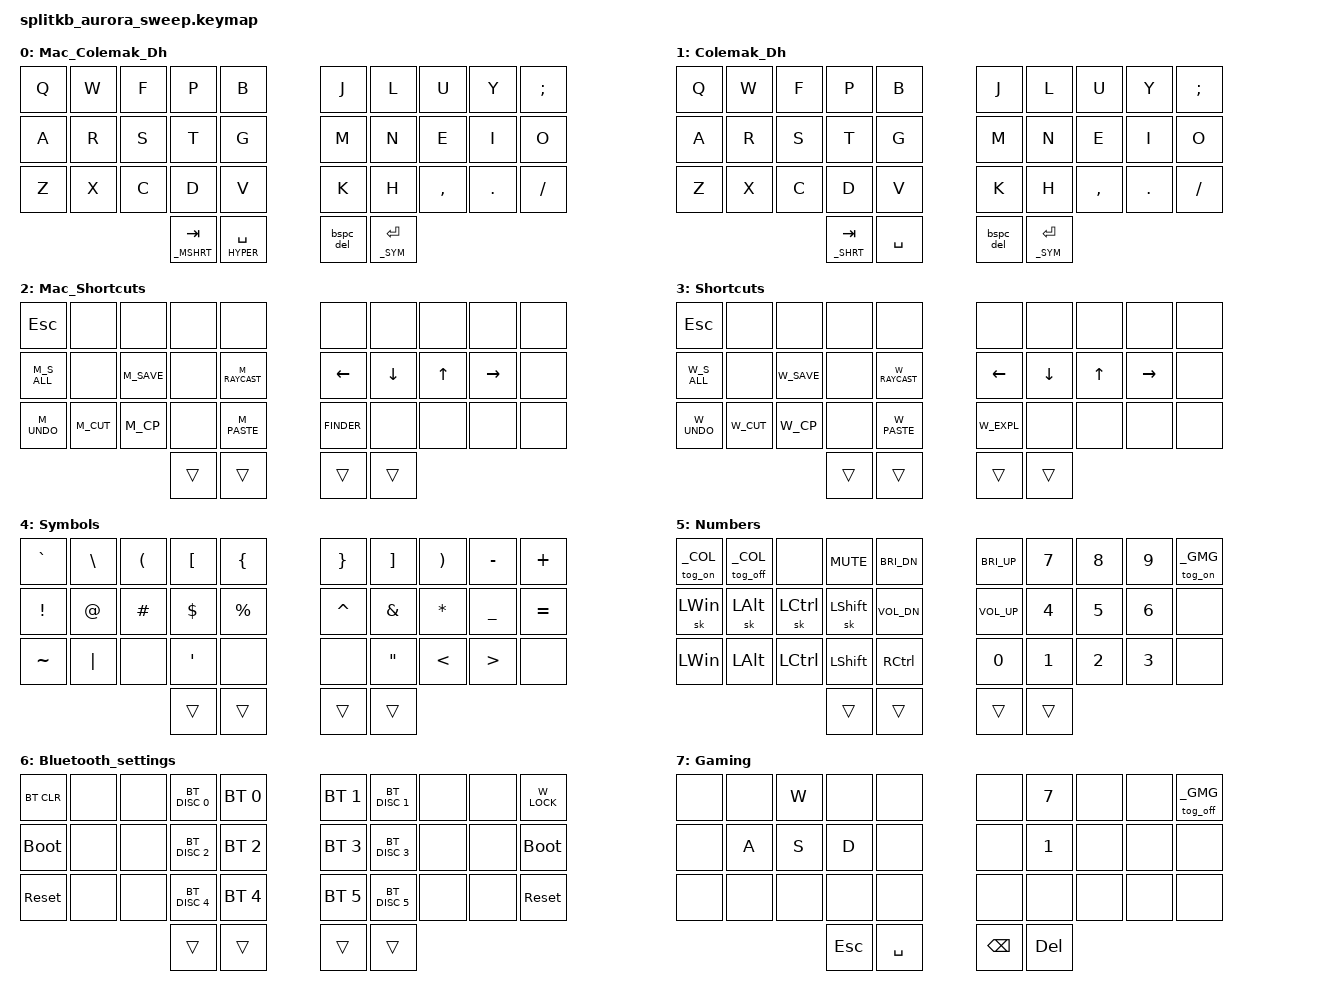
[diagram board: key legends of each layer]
#include <behaviors.dtsi>
#include <dt-bindings/zmk/keys.h>
#include <dt-bindings/zmk/bt.h>
#include "win_linux_keys.h"
#include "mac_keys.h"

#define _MCOL  0  // default mac keyboard
#define _COL   1  // default win/linux keyboard
#define _MSHRT 2  // mac shortcuts layer
#define _SHRT  3  // win/linux shortcuts layer
#define _SYM   4  // symbols
#define _NUM   5  // numbers
#define _BLT   6  // blt management when connected to win/linux
#define _GMG   7  // gaming

&lt {
  flavor = "hold-preferred";
};

&mt {
  flavor = "tap-preferred";
};

/ {

  // combo setup
  combos {
    compatible = "zmk,combos";
    // central thumb keys
    combo_blt {
      timeout-ms = <200>;
      key-positions = <31 32>;
      bindings = <&mo _BLT>;
    };
    // left thumb keys
    combo_shift {
      timeout-ms = <200>;
      key-positions = <30 31>;
      bindings = <&kp LSHFT>;
    };
    // right thumb keys
    combo_capsword {
      timeout-ms = <200>;
      key-positions = <32 33>;
      bindings = <&caps_word>;
    };
  };

  behaviors {
    bspc_del: backspace_delete {
      compatible = "zmk,behavior-mod-morph";
      bindings = <&kp BACKSPACE>, <&kp DELETE>;
      #binding-cells = <0>;
      mods = <(MOD_LSFT|MOD_RSFT)>;
    };
    // toggle layer on
    tog_on: toggle_layer_on_only {
      compatible = "zmk,behavior-toggle-layer";
      #binding-cells = <1>;
      display-name = "Toggle layer on";
      toggle-mode = "on";
    };
    // toggle layer off
    tog_off: toggle_layer_off_only {
      compatible = "zmk,behavior-toggle-layer";
      #binding-cells = <1>;
      display-name = "Toggle layer on";
      toggle-mode = "off";
    };
  };

  // conditional layers setup
  conditional_layers {
    compatible = "zmk,conditional-layers";
    win_linux_tri_layer {
      if-layers = <_SHRT _SYM>;
      then-layer = <_NUM>;
    };
    mac_tri_layer {
      if-layers = <_MSHRT _SYM>;
      then-layer = <_NUM>;
    };
  };

  keymap {
    compatible = "zmk,keymap";
    // layer 0 -> colemak mac -- used when mac in use
    mac_colemak {
      display-name = "Mac_Colemak_Dh";
      bindings = <
        &kp Q  &kp W  &kp F  &kp P            &kp B            &kp J      &kp L           &kp U      &kp Y    &kp SEMI 
        &kp A  &kp R  &kp S  &kp T            &kp G            &kp M      &kp N           &kp E      &kp I    &kp O 
        &kp Z  &kp X  &kp C  &kp D            &kp V            &kp K      &kp H           &kp COMMA  &kp DOT  &kp SLASH 
                              &lt _MSHRT TAB  &mt HYPER SPACE  &bspc_del  &lt _SYM RET
      >;
    };
    // layer 1 -> colemak windows
    colemak {
      display-name = "Colemak_Dh";
      bindings = <
        &kp Q  &kp W  &kp F  &kp P          &kp B      &kp J      &kp L           &kp U      &kp Y    &kp SEMI 
        &kp A  &kp R  &kp S  &kp T          &kp G      &kp M      &kp N           &kp E      &kp I    &kp O 
        &kp Z  &kp X  &kp C  &kp D          &kp V      &kp K      &kp H           &kp COMMA  &kp DOT  &kp SLASH 
                             &lt _SHRT TAB  &kp SPACE  &bspc_del  &lt _SYM RET
      >;
    };
    // layer 2 -> mac navigation -- used when connected to mac
    mac_shortcuts {
      display-name = "Mac_Shortcuts";
      bindings = <
        &kp ESC      &none      &none       &none   &none          &none       &none     &none   &none      &none 
        &kp M_S_ALL  &none      &kp M_SAVE  &none   &kp M_RAYCAST  &kp LEFT    &kp DOWN  &kp UP  &kp RIGHT  &none 
        &kp M_UNDO   &kp M_CUT  &kp M_CP    &none   &kp M_PASTE    &kp FINDER  &none     &none   &none      &none 
                                            &trans  &trans         &trans      &trans
      >;
    };
    // layer 3 -> navigation
    shortcuts {
      display-name = "Shortcuts";
      bindings = <
        &kp ESC      &none      &none       &none   &none          &none       &none     &none   &none      &none
        &kp W_S_ALL  &none      &kp W_SAVE  &none   &kp W_RAYCAST  &kp LEFT    &kp DOWN  &kp UP  &kp RIGHT  &none 
        &kp W_UNDO   &kp W_CUT  &kp W_CP    &none   &kp W_PASTE    &kp W_EXPL  &none     &none   &none      &none 
                                            &trans  &trans         &trans      &trans
      >;
    };
    // layer 4 -> symbols
    symbols {
      display-name = "Symbols";
      bindings = <
        &kp GRAVE  &kp BSLH  &kp LPAR  &kp LBKT  &kp LBRC   &kp RBRC   &kp RBKT  &kp RPAR  &kp MINUS  &kp PLUS
        &kp EXCL   &kp AT    &kp HASH  &kp DLLR  &kp PRCNT  &kp CARET  &kp AMPS  &kp STAR  &kp UNDER  &kp EQUAL
        &kp TILDE  &kp PIPE  &none     &kp SQT   &none      &none      &kp DQT   &kp LT    &kp GT     &none
                                       &trans    &trans     &trans     &trans
      >;
    };
    // layer 5; -> numbers
    numbers {
      display-name = "Numbers";
      bindings = <
        &tog_on _COL  &tog_off _COL  &none      &kp C_MUTE  &kp C_BRI_DN  &kp C_BRI_UP  &kp N7  &kp N8  &kp N9  &tog_on _GMG
        &sk LWIN      &sk LALT       &sk LCTRL  &sk LSHFT   &kp C_VOL_DN  &kp C_VOL_UP  &kp N4  &kp N5  &kp N6  &none
        &kp LWIN      &kp LALT       &kp LCTRL  &kp LSHFT   &kp RCTRL     &kp N0        &kp N1  &kp N2  &kp N3  &none
                                                &trans      &trans        &trans        &trans
      >;
    };
    // layer 6 -> bluetooth settings
    bl_settings {
      display-name = "Bluetooth_settings";
      bindings = <
        &bt BT_CLR   &none  &none  &bt BT_DISC 0  &bt BT_SEL 0  &bt BT_SEL 1  &bt BT_DISC 1  &none  &none  &kp W_LOCK
        &bootloader  &none  &none  &bt BT_DISC 2  &bt BT_SEL 2  &bt BT_SEL 3  &bt BT_DISC 3  &none  &none  &bootloader
        &sys_reset   &none  &none  &bt BT_DISC 4  &bt BT_SEL 4  &bt BT_SEL 5  &bt BT_DISC 5  &none  &none  &sys_reset
                                   &trans         &trans        &trans        &trans
      >;
    };
    // layer 7 -> gaming
    gaming {
      display-name = "Gaming";
      bindings = <
        &none  &none  &kp W  &none    &none      &none     &kp 7    &none  &none  &tog_off _GMG
        &none  &kp A  &kp S  &kp D    &none      &none     &kp 1    &none  &none  &none
        &none  &none  &none  &none    &none      &none     &none    &none  &none  &none
                             &kp ESC  &kp SPACE  &kp BSPC  &kp DEL
      >;
    };
  };
};
